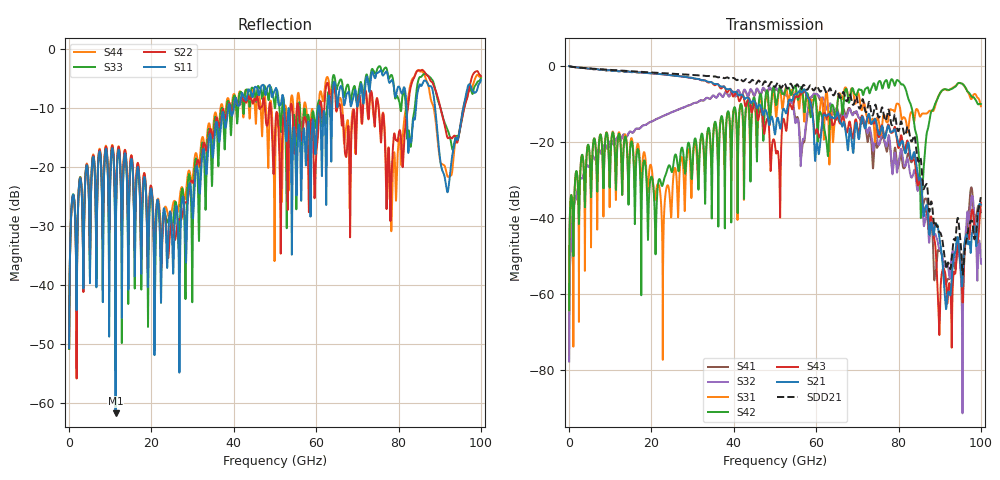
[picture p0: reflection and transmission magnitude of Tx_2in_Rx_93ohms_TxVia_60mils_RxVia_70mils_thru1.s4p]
! Info: Touchstone file created by Circ.  Input file=Tx_2in_Rx_93ohms_TxVia_60mils_RxVia_70mils.circ
# Hz S RI R 50
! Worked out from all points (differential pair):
!   10000 points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, 10 MHz to 100 GHz, reference 50 ohm
!   strongest paths, dB at 10 MHz, 25.01 GHz, 50.01 GHz, 75.01 GHz, 100 GHz:
!     S21: 0.0, -2.4, -18.0, -17.0, -36.5
!     S43: 0.0, -2.4, -20.8, -18.1, -35.9
!     S42: -64.2, -27.8, -8.2, -4.6, -10.0
!     S31: -64.2, -34.9, -9.9, -13.6, -10.6
!     S32: -77.6, -12.1, -5.7, -20.3, -51.9
!     S41: -77.6, -12.1, -6.2, -21.0, -38.4
!   taken as a pair (ports 1,3 in; 2,4 out), SDD21 dB: 0.0, -2.0, -5.5, -13.1, -34.5
!   lowest |S11| = -61.7 dB at 11.28 GHz (marker M1), VSWR 1.00, Z = 50.1 + j0.0142 ohm
!   |S11| at or under -10 dB: start of sweep to 38.65 GHz; 53.37 GHz to 60.47 GHz (7.095 GHz wide, 12.5 % of centre); 88.9 GHz to 95.7 GHz (6.798 GHz wide, 7.36 % of centre) (the widest 3 of 8)
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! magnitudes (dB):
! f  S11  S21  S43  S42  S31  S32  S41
! 10 MHz  -50.7  0.0  0.0  -64.2  -64.2  -77.6  -77.6
! 11.28 GHz  -61.7  -1.2  -1.2  -28.8  -30.4  -19.8  -19.8
! 59.93 GHz  -16.9  -22.5  -17.2  -9.0  -8.8  -7.3  -7.4
! 82.18 GHz  -14.0  -20.6  -19.6  -7.8  -17.2  -24.2  -23.4
! 85.61 GHz  -6.1  -31.9  -32.9  -34.9  -12.6  -33.4  -32.7
! 89.86 GHz  -17.1  -44.7  -69.3  -7.6  -7.5  -47.9  -48.6
! 100 GHz  -5.2  -36.5  -35.9  -10.0  -10.6  -51.9  -38.4
